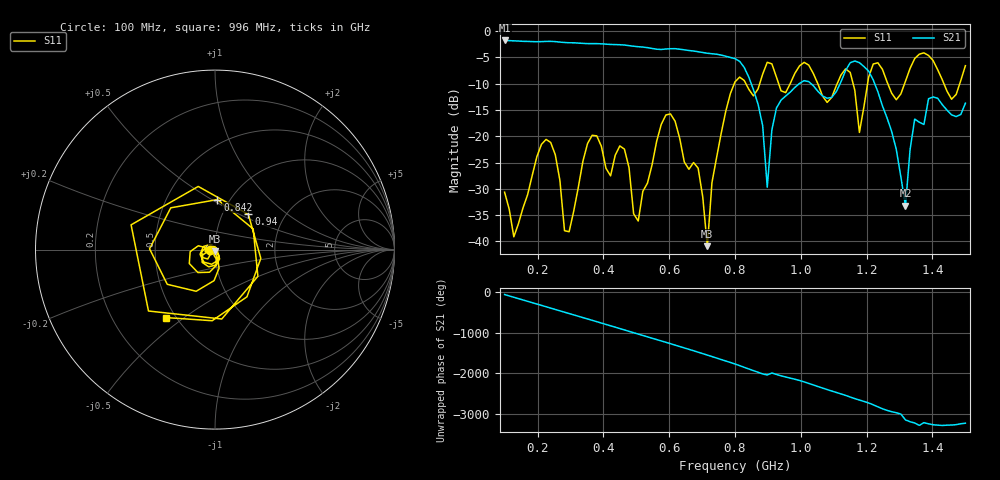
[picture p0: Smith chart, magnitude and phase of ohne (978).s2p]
! NanoVNA-App
! Date: 2025-09-25 14:28:25
! Start: 100MHz Stop: 1,5GHz Points: 101
! S-Parameter data: F S11 S21 S12 S22
# Hz S RI R 50
!  Frequency  S11_Real  S11_Imag  S21_Real  S21_Imag  S12_Real  S12_Imag  S22_Real  S22_Imag
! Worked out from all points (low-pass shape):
!   101 points, 100 MHz to 1.5 GHz, reference 50 ohm
!   highest |S21| = -1.79 dB at 100 MHz (marker M1); lowest = -33.2 dB at 1.318 GHz (marker M2)
!   |S21| within 3 dB of the highest: start of sweep to 772.2 MHz
!   lowest |S11| = -40.9 dB at 716 MHz (marker M3), VSWR 1.02, Z = 49.7 - j0.861 ohm
!   |S11| at or under -10 dB: start of sweep to 797.9 MHz; 833 MHz to 875.1 MHz (42.05 MHz wide, 4.92 % of centre); 1.052 GHz to 1.111 GHz (58.91 MHz wide, 5.45 % of centre) (the widest 3 of 7)
!   S12 and S22 are empty: the file has one direction only
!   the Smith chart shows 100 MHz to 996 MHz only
!   S11 on the Smith chart (normalised r, x): 100 MHz: 0.94, -0.01; 842 MHz: 0.88, +0.53; 940 MHz: 1.32, +0.56; 996 MHz: 0.44, -0.43
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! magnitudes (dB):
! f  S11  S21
! 100 MHz  -30.6  -1.8
! 128 MHz  -39.1  -1.9
! 226 MHz  -20.6  -2.0
! 296 MHz  -38.1  -2.2
! 338 MHz  -24.7  -2.3
! 464 MHz  -22.4  -2.7
! 506 MHz  -36.1  -3.0
! 576 MHz  -17.7  -3.5
! 688 MHz  -26.1  -3.9
! 716 MHz  -40.9  -4.2
! 800 MHz  -9.7  -5.2
! 842 MHz  -11.1  -8.8
! 898 MHz  -5.9  -29.7
! 940 MHz  -11.4  -13.1
! 996 MHz  -6.6  -10.0
! 1.038 GHz  -8.1  -10.4
! 1.178 GHz  -19.3  -6.0
! 1.22 GHz  -6.3  -9.3
! 1.276 GHz  -11.8  -19.1
! 1.318 GHz  -9.5  -33.2
! 1.346 GHz  -5.2  -16.7
! 1.5 GHz  -6.6  -13.7
